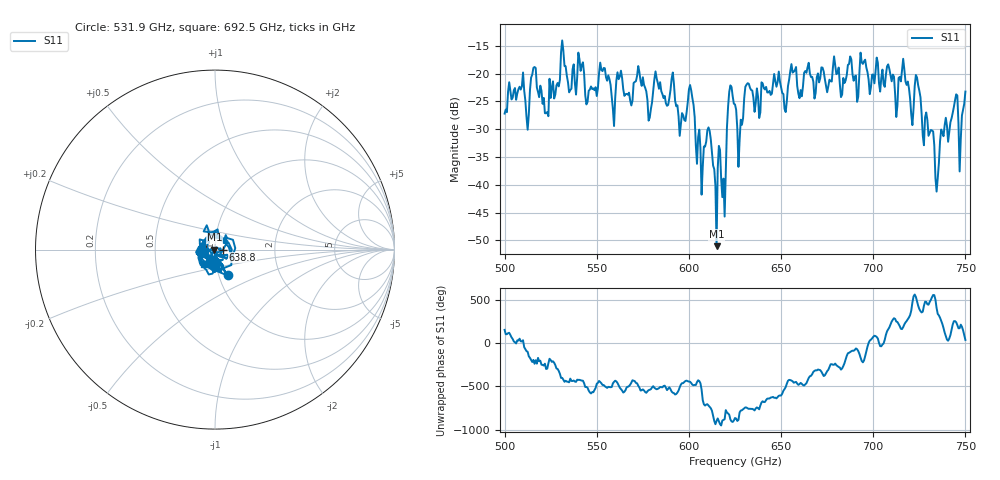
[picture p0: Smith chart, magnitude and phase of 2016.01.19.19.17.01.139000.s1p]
!Created with skrf (http://scikit-rf.org).
# GHz S RI R 50.0
!freq ReS11 ImS11
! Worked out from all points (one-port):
!   401 points, 500 GHz to 750 GHz, reference 50 ohm
!   lowest |S11| = -51.0 dB at 615 GHz (marker M1), VSWR 1.01, Z = 49.7 - j0.00411 ohm
!   |S11| at or under -10 dB: start of sweep to end of sweep
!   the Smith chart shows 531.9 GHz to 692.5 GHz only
!   S11 on the Smith chart (normalised r, x): 531.9 GHz: 1.10, -0.33; 638.8 GHz: 1.09, -0.00; 692.5 GHz: 0.87, -0.15
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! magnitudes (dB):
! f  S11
! 500 GHz  -27.2
! 508.8 GHz  -22.9
! 512.5 GHz  -30.1
! 515.6 GHz  -18.9
! 522.5 GHz  -27.1
! 531.2 GHz  -14.0
! 531.9 GHz  -15.9
! 545 GHz  -25.1
! 562.5 GHz  -20.5
! 593.8 GHz  -25.7
! 601.2 GHz  -23.0
! 605.6 GHz  -30.1
! 610.6 GHz  -29.7
! 615 GHz  -51.0
! 618.8 GHz  -38.9
! 622.5 GHz  -22.1
! 625 GHz  -25.5
! 627.5 GHz  -32.0
! 631.2 GHz  -22.0
! 638.8 GHz  -27.0
! 656.2 GHz  -19.8
! 687.5 GHz  -16.9
! 692.5 GHz  -19.8
! 718.8 GHz  -21.4
! 724.4 GHz  -22.1
! 734.4 GHz  -41.2
! 738.1 GHz  -31.3
! 750 GHz  -23.2
